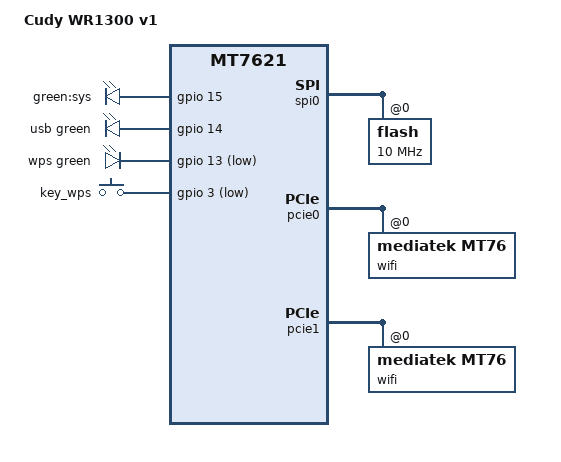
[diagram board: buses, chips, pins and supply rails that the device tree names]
// SPDX-License-Identifier: GPL-2.0-or-later OR MIT

#include "mt7621_cudy_wr1300.dtsi"

/ {
	compatible = "cudy,wr1300-v1", "mediatek,mt7621-soc";
	model = "Cudy WR1300 v1";

	leds {
		compatible = "gpio-leds";

		led_sys: sys {
			label = "green:sys";
			gpios = <&gpio 15 GPIO_ACTIVE_HIGH>;
		};

		usb {
			function = LED_FUNCTION_USB;
			color = <LED_COLOR_ID_GREEN>;
			gpios = <&gpio 14 GPIO_ACTIVE_HIGH>;
			trigger-sources = <&xhci_ehci_port1>, <&ehci_port2>;
			linux,default-trigger = "usbport";
		};

		wps {
			function = LED_FUNCTION_WPS;
			color = <LED_COLOR_ID_GREEN>;
			gpios = <&gpio 13 GPIO_ACTIVE_LOW>;
		};
	};
};

&key_wps {
	gpios = <&gpio 3 GPIO_ACTIVE_LOW>;
};

&spi0 {
	flash@0 {
		spi-max-frequency = <10000000>;
	};
};

&eeprom_factory_8000 {
	reg = <0x8000 0x200>;
};

&pcie0 {
	wifi@0,0 {
		compatible = "mediatek,mt76";
		reg = <0x0000 0 0 0 0>;
		nvmem-cells = <&eeprom_factory_0>, <&macaddr_bdinfo_de00 0>;
		nvmem-cell-names = "eeprom", "mac-address";
		ieee80211-freq-limit = <2400000 2500000>;

		led {
			led-active-low;
		};
	};
};

&pcie1 {
	wifi@0,0 {
		compatible = "mediatek,mt76";
		reg = <0x0000 0 0 0 0>;
		nvmem-cells = <&eeprom_factory_8000>, <&macaddr_bdinfo_de00 2>;
		nvmem-cell-names = "eeprom", "mac-address";
		ieee80211-freq-limit = <5000000 6000000>;

		led {
			led-sources = <2>;
			led-active-low;
		};
	};
};
